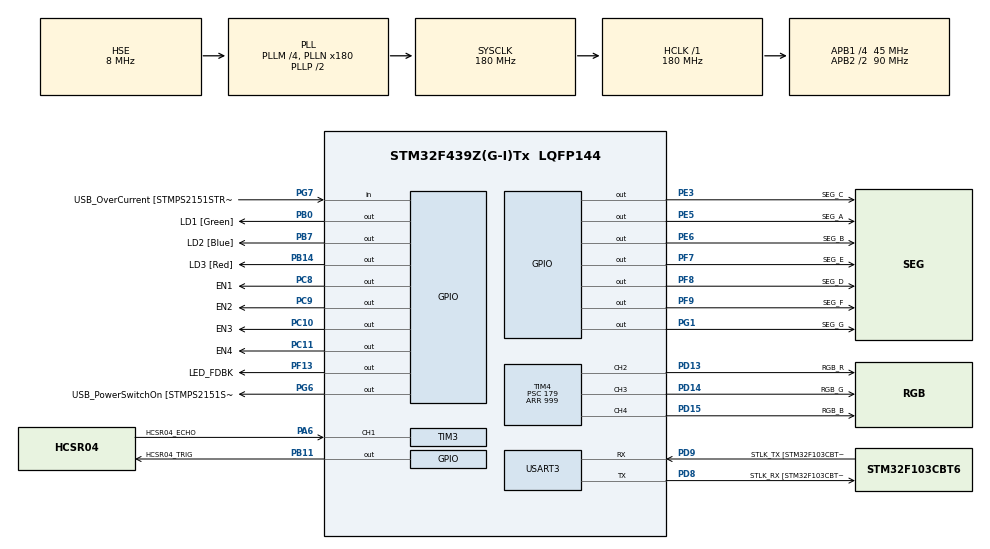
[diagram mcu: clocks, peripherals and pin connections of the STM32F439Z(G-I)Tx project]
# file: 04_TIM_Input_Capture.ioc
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Mcu.Family=STM32F4
Mcu.Name=STM32F439Z(G-I)Tx
Mcu.Package=LQFP144
NVIC.PriorityGroup=NVIC_PRIORITYGROUP_4
NVIC.TIM2_IRQn=true\:0\:0\:false\:false\:true\:true\:true\:true
NVIC.TIM3_IRQn=true\:0\:0\:false\:false\:true\:true\:true\:true
PA13.GPIO_Label=TMS
PA13.Mode=Serial_Wire
PA13.Signal=SYS_JTMS-SWDIO
PA14.GPIO_Label=TCK
PA14.Mode=Serial_Wire
PA14.Signal=SYS_JTCK-SWCLK
PA6.GPIO_Label=HCSR04_ECHO
PA6.Signal=S_TIM3_CH1
PB0.GPIO_Label=LD1 [Green]
PB0.Signal=GPIO_Output
PB11.GPIO_Label=HCSR04_TRIG
PB11.Signal=GPIO_Output
PB14.GPIO_Label=LD3 [Red]
PB14.Signal=GPIO_Output
PB7.GPIO_Label=LD2 [Blue]
PB7.Signal=GPIO_Output
PC10.GPIO_Label=EN3
PC10.Signal=GPIO_Output
PC11.GPIO_Label=EN4
PC11.Signal=GPIO_Output
PC14/OSC32_IN.Mode=LSE-External-Oscillator
PC14/OSC32_IN.Signal=RCC_OSC32_IN
PC15/OSC32_OUT.Mode=LSE-External-Oscillator
PC15/OSC32_OUT.Signal=RCC_OSC32_OUT
PC8.GPIO_Label=EN1
PC8.Signal=GPIO_Output
PC9.GPIO_Label=EN2
PC9.Signal=GPIO_Output
PD13.GPIO_Label=RGB_R
PD13.Signal=S_TIM4_CH2
PD14.GPIO_Label=RGB_G
PD14.Signal=S_TIM4_CH3
PD15.GPIO_Label=RGB_B
PD15.Signal=S_TIM4_CH4
PD8.GPIO_Label=STLK_RX [STM32F103CBT6_PA3]
PD8.Mode=Asynchronous
PD8.Signal=USART3_TX
PD9.GPIO_Label=STLK_TX [STM32F103CBT6_PA2]
PD9.Mode=Asynchronous
PD9.Signal=USART3_RX
PE3.GPIO_Label=SEG_C
PE3.Signal=GPIO_Output
PE5.GPIO_Label=SEG_A
PE5.Signal=GPIO_Output
PE6.GPIO_Label=SEG_B
PE6.Signal=GPIO_Output
PF13.GPIO_Label=LED_FDBK
PF13.Signal=GPIO_Output
PF7.GPIO_Label=SEG_E
PF7.Signal=GPIO_Output
PF8.GPIO_Label=SEG_D
PF8.Signal=GPIO_Output
PF9.GPIO_Label=SEG_F
PF9.Signal=GPIO_Output
PG1.GPIO_Label=SEG_G
PG1.Signal=GPIO_Output
PG6.GPIO_Label=USB_PowerSwitchOn [STMPS2151STR_EN]
PG6.Signal=GPIO_Output
PG7.GPIO_Label=USB_OverCurrent [STMPS2151STR_FAULT]
PG7.Signal=GPIO_Input
PH0/OSC_IN.GPIO_Label=MCO [STM32F103CBT6_PA8]
PH0/OSC_IN.Mode=HSE-External-Oscillator
PH0/OSC_IN.Signal=RCC_OSC_IN
PH1/OSC_OUT.Mode=HSE-External-Oscillator
PH1/OSC_OUT.Signal=RCC_OSC_OUT
ProjectManager.HeapSize=0x200
ProjectManager.StackSize=0x400
ProjectManager.TargetToolchain=STM32CubeIDE
RCC.48MHZClocksFreq_Value=51428571.428571425
RCC.AHBFreq_Value=180000000
RCC.APB1CLKDivider=RCC_HCLK_DIV4
RCC.APB1Freq_Value=45000000
RCC.APB1TimFreq_Value=90000000
RCC.APB2CLKDivider=RCC_HCLK_DIV2
RCC.APB2Freq_Value=90000000
RCC.APB2TimFreq_Value=180000000
RCC.CortexFreq_Value=180000000
RCC.HCLKFreq_Value=180000000
RCC.HSE_VALUE=8000000
RCC.HSI_VALUE=16000000
RCC.PLLM=4
RCC.PLLMUL=RCC_PLL_MUL9
RCC.PLLN=180
RCC.PLLQ=7
RCC.PLLSourceVirtual=RCC_PLLSOURCE_HSE
RCC.PRESCALERUSB=RCC_USBCLKSOURCE_PLL_DIV1_5
RCC.SYSCLKFreq_VALUE=180000000
RCC.SYSCLKSource=RCC_SYSCLKSOURCE_PLLCLK
RCC.SYSCLKSourceVirtual=RCC_SYSCLKSOURCE_PLLCLK
RCC.USBFreq_Value=48000000
RCC.VCOOutputFreq_Value=360000000
SH.S_TIM3_CH1.0=TIM3_CH1,Input_Capture1_from_TI1
SH.S_TIM4_CH2.0=TIM4_CH2,PWM Generation2 CH2
SH.S_TIM4_CH3.0=TIM4_CH3,PWM Generation3 CH3
SH.S_TIM4_CH4.0=TIM4_CH4,PWM Generation4 CH4
TIM2.Period=41
TIM2.Prescaler=8999
TIM3.Channel-Input_Capture1_from_TI1=TIM_CHANNEL_1
TIM3.Prescaler=89
TIM4.Channel-PWM\ Generation2\ CH2=TIM_CHANNEL_2
TIM4.Channel-PWM\ Generation3\ CH3=TIM_CHANNEL_3
TIM4.Channel-PWM\ Generation4\ CH4=TIM_CHANNEL_4
TIM4.Period=999
TIM4.Prescaler=179
USART3.VirtualMode=VM_ASYNC
VP_TIM2_VS_ClockSourceINT.Mode=Internal
VP_TIM3_VS_ClockSourceINT.Mode=Internal
VP_TIM4_VS_ClockSourceINT.Mode=Internal
board=NUCLEO-F439ZI

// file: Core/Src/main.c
/* USER CODE BEGIN Header */
/**
 ******************************************************************************
 * @file           : main.c
 * @brief          : Main program body
 ******************************************************************************
 * @attention
 *
 * Copyright (c) 2026 STMicroelectronics.
 * All rights reserved.
 *
 * This software is licensed under terms that can be found in the LICENSE file
 * in the root directory of this software component.
 * If no LICENSE file comes with this software, it is provided AS-IS.
 *
 ******************************************************************************
 */
/* USER CODE END Header */
#include "main.h"

/* USER CODE BEGIN Includes */

#include "sensor_hcsr04.h"
#include "rgb_led.h"
#include "Display_7Seg.h"
#include <string.h>  // Necesaria para strlen()
#include <stdio.h>   // Útil si después quieres usar sprintf()

/* USER CODE END Includes */

TIM_HandleTypeDef htim2;
TIM_HandleTypeDef htim3;
TIM_HandleTypeDef htim4;

UART_HandleTypeDef huart3;

/* USER CODE BEGIN PV */

/* --- Objeto para el Sensor Ultrasonico --- */
sensor_hcsr04_t ultrasonic;

/* --- Objeto para el Led RGB --- */
rgb_led_t ledRGB;

/* --- Objeto para los display  --- */
display_7seg_t hDisp;
uint8_t bufferDisplay[4]; //buffer para la cantidad de displays

// Variables de control
uint32_t last_ultrasonic_tick = 0;
uint8_t fallos_consecutivos = 0;

/* USER CODE END PV */

void SystemClock_Config(void);
static void MX_GPIO_Init(void);
static void MX_USART3_UART_Init(void);
static void MX_TIM4_Init(void);
static void MX_TIM3_Init(void);
static void MX_TIM2_Init(void);
/* USER CODE BEGIN PFP */

/* --- Prototipos de Funciones Auxiliares --- */

uint32_t STM32_Get_us(void);
void STM32_IC_SetEdge(generic_ic_t ic, bool rising);
uint32_t STM32_IC_Read(generic_ic_t ic);
void STM32_GPIO_Write(generic_gpio_t gpio, bool state);
void STM32_PWM_Write(generic_pwm_t ch, uint16_t value);
uint32_t STM32_GetTick(void);

void Actualizar_Alerta_Visual(float d);
void Debug_Log(const char *msg);

/* USER CODE END PFP */

/* USER CODE BEGIN 0 */

/* --- CAPA 1: ADAPTADORES (Hardware Mapping) --- */

/**
 * @brief Adaptador para el servicio de microsegundos mediante DWT.
 */
uint32_t STM32_Get_us(void) {
	return DWT->CYCCNT / (SystemCoreClock / 1000000);
}

/**
 * @brief Adaptador para cambiar la polaridad de captura del Timer.
 */
void STM32_IC_SetEdge(generic_ic_t ic, bool rising) {
	uint32_t polarity = rising ? TIM_INPUTCHANNELPOLARITY_RISING : TIM_INPUTCHANNELPOLARITY_FALLING;
	__HAL_TIM_SET_CAPTUREPOLARITY((TIM_HandleTypeDef*)ic.timer_handle, ic.channel, polarity);
}

/**
 * @brief Adaptador para leer el registro de captura (CCR).
 */
uint32_t STM32_IC_Read(generic_ic_t ic) {
	return HAL_TIM_ReadCapturedValue((TIM_HandleTypeDef*)ic.timer_handle, ic.channel);
}

/**
 * @brief Adaptador para escritura GPIO.
 */
void STM32_GPIO_Write(generic_gpio_t gpio, bool state) {
	HAL_GPIO_WritePin((GPIO_TypeDef*)gpio.port, gpio.pin, state ? GPIO_PIN_SET : GPIO_PIN_RESET);
}

/**
 * @brief Implementación específica de PWM para STM32
 */
void STM32_PWM_Write(generic_pwm_t ch, uint16_t value) {
	// Cast del handle genérico al tipo de ST
	__HAL_TIM_SET_COMPARE((TIM_HandleTypeDef*)ch.timer_handle, ch.channel, value);
}

/**
 * @brief Implementación específica de Tick para STM32
 */
uint32_t STM32_GetTick(void) {
	return HAL_GetTick();
}

/**
 * @brief Adaptador de escritura para la PAL del Display.
 */
void STM32_Display_WritePin(display_gpio_t pin, bool state) {
	HAL_GPIO_WritePin((GPIO_TypeDef*)pin.port, pin.pin, state ? GPIO_PIN_SET : GPIO_PIN_RESET);
}

/**
 * @brief Adaptador de lectura para la PAL del Display (si se requiere).
 */
bool STM32_Display_ReadPin(display_gpio_t pin) {
	return (HAL_GPIO_ReadPin((GPIO_TypeDef*)pin.port, pin.pin) == GPIO_PIN_SET);
}

/**
 * @brief Orquestador de alertas visuales (LED RGB y Parpadeo de Display).
 * @details Implementa una lógica de umbrales para alertar al usuario sobre la cercanía.
 * @param d Distancia filtrada en centímetros.
 */
void Actualizar_Alerta_Visual(float d) {
	// Umbrales con una pequeña histéresis implícita por el filtro EMA del driver
	if (d < 10.0f) {
		// ROJO: Peligro inminente
		RGB_LED_SetColor(&ledRGB, 255, 0, 0);
		Display7Seg_SetFlash(&hDisp, 200); // Parpadeo rápido (200ms)
	}
	else if (d < 30.0f) {
		// NARANJA: Advertencia (Cuidado)
		// Nota: 120 en G produce un naranja equilibrado en ánodo común
		RGB_LED_SetColor(&ledRGB, 255, 100, 0);
		Display7Seg_SetFlash(&hDisp, 0);   // Parpadeo OFF
	}
	else {
		// VERDE: Zona segura
		RGB_LED_SetColor(&ledRGB, 0, 255, 0);
		Display7Seg_SetFlash(&hDisp, 0);   // Parpadeo OFF
	}
}

void Debug_Log(const char *msg) {
	HAL_UART_Transmit(&huart3, (uint8_t*)msg, strlen(msg), 100);
}

/* USER CODE END 0 */

int main(void)
{

  /* MCU Configuration--------------------------------------------------------*/

  /* Reset of all peripherals, Initializes the Flash interface and the Systick. */
  HAL_Init();

  /* Configure the system clock */
  SystemClock_Config();

  /* Initialize all configured peripherals */
  MX_GPIO_Init();
  MX_USART3_UART_Init();
  MX_TIM4_Init();
  MX_TIM3_Init();
  MX_TIM2_Init();
  /* USER CODE BEGIN 2 */
	Debug_Log("\r\n==========================================\r\n");
	Debug_Log("   LABORATORIO 04: INPUT CAPTURE (TIM3)   \r\n");
	Debug_Log("   SISTEMA DE TELEMETRIA ULTRASONICA      \r\n");
	Debug_Log("   Plataforma: STM32 Nucleo-F439ZI        \r\n");
	Debug_Log("==========================================\r\n");
	Debug_Log("[OK] Nucleo Clock: 180 MHz\r\n");
	Debug_Log(">>> Iniciando Perifericos...\r\n");

	// ***********************Configuracion de los PAL ***********************
	/* --- 1. Definición de la PAL Universal (Capa 1) --- */
	// Esta interfaz servirá para el Sensor y el RGB simultáneamente
	hal_interface_t pal_universal = {
			.gpio_write  = STM32_GPIO_Write,
			.pwm_write   = STM32_PWM_Write,
			.ic_read     = STM32_IC_Read,
			.ic_set_edge = STM32_IC_SetEdge,
			.get_tick    = STM32_GetTick,
			.get_us      = STM32_Get_us
	};

	/* --- 2. Configuración Display 7 Segmentos --- */
	display_7seg_pal_t display_pal = {
			.write_pin = STM32_Display_WritePin,
			.get_tick  = STM32_GetTick,
			.read_pin  = NULL
	};

	// ***********************Configuracion de los Display 7 Segmentos********************
	/* 1. Mapeo de Hardware (Capa 1) */
	display_gpio_t segmentos[] = {
			{(void*)SEG_A_GPIO_Port, SEG_A_Pin}, {(void*)SEG_B_GPIO_Port, SEG_B_Pin},
			{(void*)SEG_C_GPIO_Port, SEG_C_Pin}, {(void*)SEG_D_GPIO_Port, SEG_D_Pin},
			{(void*)SEG_E_GPIO_Port, SEG_E_Pin}, {(void*)SEG_F_GPIO_Port, SEG_F_Pin},
			{(void*)SEG_G_GPIO_Port, SEG_G_Pin}
	};

	display_gpio_t comunes[] = {
			{(void*)EN4_GPIO_Port, EN4_Pin},
			{(void*)EN3_GPIO_Port, EN3_Pin},
			{(void*)EN2_GPIO_Port, EN2_Pin},
			{(void*)EN1_GPIO_Port, EN1_Pin}
	};

	/* 2. Inicialización del Driver (Capa 2) */
	Display7Seg_Init(&hDisp, display_pal, segmentos, comunes, 4, bufferDisplay, DISPLAY_CATHODE);

	/* 3. Arranque de Periféricos de bajo nivel */
	HAL_TIM_Base_Start_IT(&htim2);

	Display7Seg_WriteString(&hDisp, "HOLA");
	HAL_Delay(1000);
	Debug_Log("[OK] Periferico TIM2: Multiplexado Display\r\n");

	//***********************Configuracion del Sensor Ultrasonico************************

	// 1. Definimos los pines genéricos (Usando tus labels del IOC)
	generic_gpio_t trig_pin = { .port = HCSR04_TRIG_GPIO_Port, .pin = HCSR04_TRIG_Pin };
	generic_ic_t   echo_ic  = { .timer_handle = &htim3, .channel = TIM_CHANNEL_1 };

	// 3. Inicializamos el nuevo driver agnóstico
	SENSOR_HCSR04_Init(&ultrasonic, trig_pin, echo_ic, pal_universal);

	// 4. Arrancamos el Timer de captura (esto sigue siendo necesario)
	HAL_TIM_IC_Start_IT(&htim3, TIM_CHANNEL_1);

	//***********************Configuracion del LED RGB Anodo Comun***********************

	/* 2. Definición de canales PWM genéricos */
	generic_pwm_t ch_r = { .timer_handle = &htim4, .channel = TIM_CHANNEL_2 };
	generic_pwm_t ch_g = { .timer_handle = &htim4, .channel = TIM_CHANNEL_3 };
	generic_pwm_t ch_b = { .timer_handle = &htim4, .channel = TIM_CHANNEL_4 };

	/* 3. Inicialización del Driver RGB */
	RGB_LED_Init(&ledRGB, ch_r, ch_g, ch_b, RGB_ANODE_COMMON, 700, pal_universal);

	/* 4. Iniciar hardware de Timers (Específico de ST) */
	HAL_TIM_PWM_Start(&htim4, TIM_CHANNEL_2);
	HAL_TIM_PWM_Start(&htim4, TIM_CHANNEL_3);
	HAL_TIM_PWM_Start(&htim4, TIM_CHANNEL_4);
	Debug_Log("[OK] Periferico TIM4: PWM RGB Activo\r\n");

	//Debug_Log(">>> Sistema listo para medicion...\r\n");
	Debug_Log(">>> Sistema listo para medicion...\r\n\r\n");
  /* USER CODE END 2 */

  /* Infinite loop */
	while (1)
	{

    /* USER CODE BEGIN 3 */

		uint32_t current_tick = HAL_GetTick();

		// Tarea de Telemetría y Control (Frecuencia: 10 Hz)
		if (current_tick - last_ultrasonic_tick >= 100) {
			last_ultrasonic_tick = current_tick;

			/**
			 * 1. Obtener distancia procesada.
			 * El driver ya devuelve el valor filtrado (EMA) y gestiona
			 * internamente si la medición anterior fue exitosa o no.
			 */
			float distancia = SENSOR_HCSR04_GetDistance(&ultrasonic);

			/**
			 * 2. Actualización de periféricos de salida.
			 * Solo actualizamos si la distancia está dentro del rango físico
			 * esperado para evitar errores visuales.
			 */
			if (distancia > 2.0f && distancia < 400.0f) {
				// Actualizar Display de 7 Segmentos
				Display7Seg_WriteNumber(&hDisp, (uint32_t)distancia);

				// Actualizar LED RGB según la cercanía (Alerta Visual)
				Actualizar_Alerta_Visual(distancia);

				// Logging de Debug (Opcional)
				char msg[32];
				sprintf(msg, "Dist: %d cm\r\n", (int)distancia);
				Debug_Log(msg);
			}

			/**
			 * 3. Disparar ráfaga para el siguiente ciclo.
			 * El driver usa la PAL para generar el pulso de 10us exactos.
			 */
			SENSOR_HCSR04_Trigger(&ultrasonic);
		}

	}
  /* USER CODE END 3 */
}

void SystemClock_Config(void)
{
  RCC_OscInitTypeDef RCC_OscInitStruct = {0};
  RCC_ClkInitTypeDef RCC_ClkInitStruct = {0};

  /** Configure the main internal regulator output voltage
  */
  __HAL_RCC_PWR_CLK_ENABLE();
  __HAL_PWR_VOLTAGESCALING_CONFIG(PWR_REGULATOR_VOLTAGE_SCALE1);

  /** Initializes the RCC Oscillators according to the specified parameters
  * in the RCC_OscInitTypeDef structure.
  */
  RCC_OscInitStruct.OscillatorType = RCC_OSCILLATORTYPE_HSE;
  RCC_OscInitStruct.HSEState = RCC_HSE_ON;
  RCC_OscInitStruct.PLL.PLLState = RCC_PLL_ON;
  RCC_OscInitStruct.PLL.PLLSource = RCC_PLLSOURCE_HSE;
  RCC_OscInitStruct.PLL.PLLM = 4;
  RCC_OscInitStruct.PLL.PLLN = 180;
  RCC_OscInitStruct.PLL.PLLP = RCC_PLLP_DIV2;
  RCC_OscInitStruct.PLL.PLLQ = 7;
  if (HAL_RCC_OscConfig(&RCC_OscInitStruct) != HAL_OK)
  {
    Error_Handler();
  }

  /** Activate the Over-Drive mode
  */
  if (HAL_PWREx_EnableOverDrive() != HAL_OK)
  {
    Error_Handler();
  }

  /** Initializes the CPU, AHB and APB buses clocks
  */
  RCC_ClkInitStruct.ClockType = RCC_CLOCKTYPE_HCLK|RCC_CLOCKTYPE_SYSCLK
                              |RCC_CLOCKTYPE_PCLK1|RCC_CLOCKTYPE_PCLK2;
  RCC_ClkInitStruct.SYSCLKSource = RCC_SYSCLKSOURCE_PLLCLK;
  RCC_ClkInitStruct.AHBCLKDivider = RCC_SYSCLK_DIV1;
  RCC_ClkInitStruct.APB1CLKDivider = RCC_HCLK_DIV4;
  RCC_ClkInitStruct.APB2CLKDivider = RCC_HCLK_DIV2;

  if (HAL_RCC_ClockConfig(&RCC_ClkInitStruct, FLASH_LATENCY_5) != HAL_OK)
  {
    Error_Handler();
  }
}

static void MX_TIM2_Init(void)
{

  TIM_ClockConfigTypeDef sClockSourceConfig = {0};
  TIM_MasterConfigTypeDef sMasterConfig = {0};

  htim2.Instance = TIM2;
  htim2.Init.Prescaler = 8999;
  htim2.Init.CounterMode = TIM_COUNTERMODE_UP;
  htim2.Init.Period = 41;
  htim2.Init.ClockDivision = TIM_CLOCKDIVISION_DIV1;
  htim2.Init.AutoReloadPreload = TIM_AUTORELOAD_PRELOAD_DISABLE;
  if (HAL_TIM_Base_Init(&htim2) != HAL_OK)
  {
    Error_Handler();
  }
  sClockSourceConfig.ClockSource = TIM_CLOCKSOURCE_INTERNAL;
  if (HAL_TIM_ConfigClockSource(&htim2, &sClockSourceConfig) != HAL_OK)
  {
    Error_Handler();
  }
  sMasterConfig.MasterOutputTrigger = TIM_TRGO_RESET;
  sMasterConfig.MasterSlaveMode = TIM_MASTERSLAVEMODE_DISABLE;
  if (HAL_TIMEx_MasterConfigSynchronization(&htim2, &sMasterConfig) != HAL_OK)
  {
    Error_Handler();
  }

}

static void MX_TIM3_Init(void)
{

  TIM_ClockConfigTypeDef sClockSourceConfig = {0};
  TIM_MasterConfigTypeDef sMasterConfig = {0};
  TIM_IC_InitTypeDef sConfigIC = {0};

  htim3.Instance = TIM3;
  htim3.Init.Prescaler = 89;
  htim3.Init.CounterMode = TIM_COUNTERMODE_UP;
  htim3.Init.Period = 65535;
  htim3.Init.ClockDivision = TIM_CLOCKDIVISION_DIV1;
  htim3.Init.AutoReloadPreload = TIM_AUTORELOAD_PRELOAD_DISABLE;
  if (HAL_TIM_Base_Init(&htim3) != HAL_OK)
  {
    Error_Handler();
  }
  sClockSourceConfig.ClockSource = TIM_CLOCKSOURCE_INTERNAL;
  if (HAL_TIM_ConfigClockSource(&htim3, &sClockSourceConfig) != HAL_OK)
  {
    Error_Handler();
  }
  if (HAL_TIM_IC_Init(&htim3) != HAL_OK)
  {
    Error_Handler();
  }
  sMasterConfig.MasterOutputTrigger = TIM_TRGO_RESET;
  sMasterConfig.MasterSlaveMode = TIM_MASTERSLAVEMODE_DISABLE;
  if (HAL_TIMEx_MasterConfigSynchronization(&htim3, &sMasterConfig) != HAL_OK)
  {
    Error_Handler();
  }
  sConfigIC.ICPolarity = TIM_INPUTCHANNELPOLARITY_RISING;
  sConfigIC.ICSelection = TIM_ICSELECTION_DIRECTTI;
  sConfigIC.ICPrescaler = TIM_ICPSC_DIV1;
  sConfigIC.ICFilter = 0;
  if (HAL_TIM_IC_ConfigChannel(&htim3, &sConfigIC, TIM_CHANNEL_1) != HAL_OK)
  {
    Error_Handler();
  }

}

static void MX_TIM4_Init(void)
{

  TIM_ClockConfigTypeDef sClockSourceConfig = {0};
  TIM_MasterConfigTypeDef sMasterConfig = {0};
  TIM_OC_InitTypeDef sConfigOC = {0};

  htim4.Instance = TIM4;
  htim4.Init.Prescaler = 179;
  htim4.Init.CounterMode = TIM_COUNTERMODE_UP;
  htim4.Init.Period = 999;
  htim4.Init.ClockDivision = TIM_CLOCKDIVISION_DIV1;
  htim4.Init.AutoReloadPreload = TIM_AUTORELOAD_PRELOAD_DISABLE;
  if (HAL_TIM_Base_Init(&htim4) != HAL_OK)
  {
    Error_Handler();
  }
  sClockSourceConfig.ClockSource = TIM_CLOCKSOURCE_INTERNAL;
  if (HAL_TIM_ConfigClockSource(&htim4, &sClockSourceConfig) != HAL_OK)
  {
    Error_Handler();
  }
  if (HAL_TIM_PWM_Init(&htim4) != HAL_OK)
  {
    Error_Handler();
  }
  sMasterConfig.MasterOutputTrigger = TIM_TRGO_RESET;
  sMasterConfig.MasterSlaveMode = TIM_MASTERSLAVEMODE_DISABLE;
  if (HAL_TIMEx_MasterConfigSynchronization(&htim4, &sMasterConfig) != HAL_OK)
  {
    Error_Handler();
  }
  sConfigOC.OCMode = TIM_OCMODE_PWM1;
  sConfigOC.Pulse = 0;
  sConfigOC.OCPolarity = TIM_OCPOLARITY_HIGH;
  sConfigOC.OCFastMode = TIM_OCFAST_DISABLE;
  if (HAL_TIM_PWM_ConfigChannel(&htim4, &sConfigOC, TIM_CHANNEL_2) != HAL_OK)
  {
    Error_Handler();
  }
  if (HAL_TIM_PWM_ConfigChannel(&htim4, &sConfigOC, TIM_CHANNEL_3) != HAL_OK)
  {
    Error_Handler();
  }
  if (HAL_TIM_PWM_ConfigChannel(&htim4, &sConfigOC, TIM_CHANNEL_4) != HAL_OK)
  {
    Error_Handler();
  }
  HAL_TIM_MspPostInit(&htim4);

}

static void MX_USART3_UART_Init(void)
{

  huart3.Instance = USART3;
  huart3.Init.BaudRate = 115200;
  huart3.Init.WordLength = UART_WORDLENGTH_8B;
  huart3.Init.StopBits = UART_STOPBITS_1;
  huart3.Init.Parity = UART_PARITY_NONE;
  huart3.Init.Mode = UART_MODE_TX_RX;
  huart3.Init.HwFlowCtl = UART_HWCONTROL_NONE;
  huart3.Init.OverSampling = UART_OVERSAMPLING_16;
  if (HAL_UART_Init(&huart3) != HAL_OK)
  {
    Error_Handler();
  }

}

static void MX_GPIO_Init(void)
{
  GPIO_InitTypeDef GPIO_InitStruct = {0};

  /* GPIO Ports Clock Enable */
  __HAL_RCC_GPIOE_CLK_ENABLE();
  __HAL_RCC_GPIOC_CLK_ENABLE();
  __HAL_RCC_GPIOF_CLK_ENABLE();
  __HAL_RCC_GPIOH_CLK_ENABLE();
  __HAL_RCC_GPIOA_CLK_ENABLE();
  __HAL_RCC_GPIOB_CLK_ENABLE();
  __HAL_RCC_GPIOG_CLK_ENABLE();
  __HAL_RCC_GPIOD_CLK_ENABLE();

  /*Configure GPIO pin Output Level */
  HAL_GPIO_WritePin(GPIOE, SEG_C_Pin|SEG_A_Pin|SEG_B_Pin, GPIO_PIN_RESET);

  /*Configure GPIO pin Output Level */
  HAL_GPIO_WritePin(GPIOF, SEG_E_Pin|SEG_D_Pin|SEG_F_Pin|LED_FDBK_Pin, GPIO_PIN_RESET);

  /*Configure GPIO pin Output Level */
  HAL_GPIO_WritePin(GPIOB, LD1_Pin|HCSR04_TRIG_Pin|LD3_Pin|LD2_Pin, GPIO_PIN_RESET);

  /*Configure GPIO pin Output Level */
  HAL_GPIO_WritePin(GPIOG, SEG_G_Pin|USB_PowerSwitchOn_Pin, GPIO_PIN_RESET);

  /*Configure GPIO pin Output Level */
  HAL_GPIO_WritePin(GPIOC, EN1_Pin|EN2_Pin|EN3_Pin|EN4_Pin, GPIO_PIN_RESET);

  /*Configure GPIO pins : SEG_C_Pin SEG_A_Pin SEG_B_Pin */
  GPIO_InitStruct.Pin = SEG_C_Pin|SEG_A_Pin|SEG_B_Pin;
  GPIO_InitStruct.Mode = GPIO_MODE_OUTPUT_PP;
  GPIO_InitStruct.Pull = GPIO_NOPULL;
  GPIO_InitStruct.Speed = GPIO_SPEED_FREQ_LOW;
  HAL_GPIO_Init(GPIOE, &GPIO_InitStruct);

  /*Configure GPIO pins : SEG_E_Pin SEG_D_Pin SEG_F_Pin LED_FDBK_Pin */
  GPIO_InitStruct.Pin = SEG_E_Pin|SEG_D_Pin|SEG_F_Pin|LED_FDBK_Pin;
  GPIO_InitStruct.Mode = GPIO_MODE_OUTPUT_PP;
  GPIO_InitStruct.Pull = GPIO_NOPULL;
  GPIO_InitStruct.Speed = GPIO_SPEED_FREQ_LOW;
  HAL_GPIO_Init(GPIOF, &GPIO_InitStruct);

  /*Configure GPIO pins : LD1_Pin HCSR04_TRIG_Pin LD3_Pin LD2_Pin */
  GPIO_InitStruct.Pin = LD1_Pin|HCSR04_TRIG_Pin|LD3_Pin|LD2_Pin;
  GPIO_InitStruct.Mode = GPIO_MODE_OUTPUT_PP;
  GPIO_InitStruct.Pull = GPIO_NOPULL;
  GPIO_InitStruct.Speed = GPIO_SPEED_FREQ_LOW;
  HAL_GPIO_Init(GPIOB, &GPIO_InitStruct);

  /*Configure GPIO pins : SEG_G_Pin USB_PowerSwitchOn_Pin */
  GPIO_InitStruct.Pin = SEG_G_Pin|USB_PowerSwitchOn_Pin;
  GPIO_InitStruct.Mode = GPIO_MODE_OUTPUT_PP;
  GPIO_InitStruct.Pull = GPIO_NOPULL;
  GPIO_InitStruct.Speed = GPIO_SPEED_FREQ_LOW;
  HAL_GPIO_Init(GPIOG, &GPIO_InitStruct);

  /*Configure GPIO pin : USB_OverCurrent_Pin */
  GPIO_InitStruct.Pin = USB_OverCurrent_Pin;
  GPIO_InitStruct.Mode = GPIO_MODE_INPUT;
  GPIO_InitStruct.Pull = GPIO_NOPULL;
  HAL_GPIO_Init(USB_OverCurrent_GPIO_Port, &GPIO_InitStruct);

  /*Configure GPIO pins : EN1_Pin EN2_Pin EN3_Pin EN4_Pin */
  GPIO_InitStruct.Pin = EN1_Pin|EN2_Pin|EN3_Pin|EN4_Pin;
  GPIO_InitStruct.Mode = GPIO_MODE_OUTPUT_PP;
  GPIO_InitStruct.Pull = GPIO_NOPULL;
  GPIO_InitStruct.Speed = GPIO_SPEED_FREQ_LOW;
  HAL_GPIO_Init(GPIOC, &GPIO_InitStruct);

}

/* USER CODE BEGIN 4 */

/**
 * @brief Callback del Timer para la multiplexación del Display.
 */
void HAL_TIM_PeriodElapsedCallback(TIM_HandleTypeDef *htim) {
	if (htim->Instance == TIM2) {
		Display7Seg_Refresh_ISR(&hDisp);
	}
}

/**
 * @brief Callback de captura de flanco para el sensor ultrasónico.
 * @details Se ejecuta en contexto de interrupción (ISR).
 *          Maneja la transición de estados del driver agnóstico.
 */
void HAL_TIM_IC_CaptureCallback(TIM_HandleTypeDef *htim) {
	/* 1. Filtrar por instancia de hardware (Capa 1) */
	if (htim->Instance == TIM3) {

		/* 2. Filtrar por el canal activo (CH1 en tu configuración) */
		if (htim->Channel == HAL_TIM_ACTIVE_CHANNEL_1) {

			/**
			 * FEEDBACK VISUAL: Toggle del LED azul (Pin PF3).
			 * Útil para confirmar que el sensor está enviando el eco correctamente.
			 */
			HAL_GPIO_TogglePin(LED_FDBK_GPIO_Port, LED_FDBK_Pin);

			/**
			 * 3. Delegar la lógica de captura al Driver (Capa 2).
			 * Esta función utiliza internamente la PAL para leer el CCR y
			 * conmutar la polaridad del flanco (Rising/Falling).
			 */
			SENSOR_HCSR04_OnCapture(&ultrasonic);
		}
	}
}
/* USER CODE END 4 */

void Error_Handler(void)
{
	__disable_irq();
	while (1)
	{
	}
}
